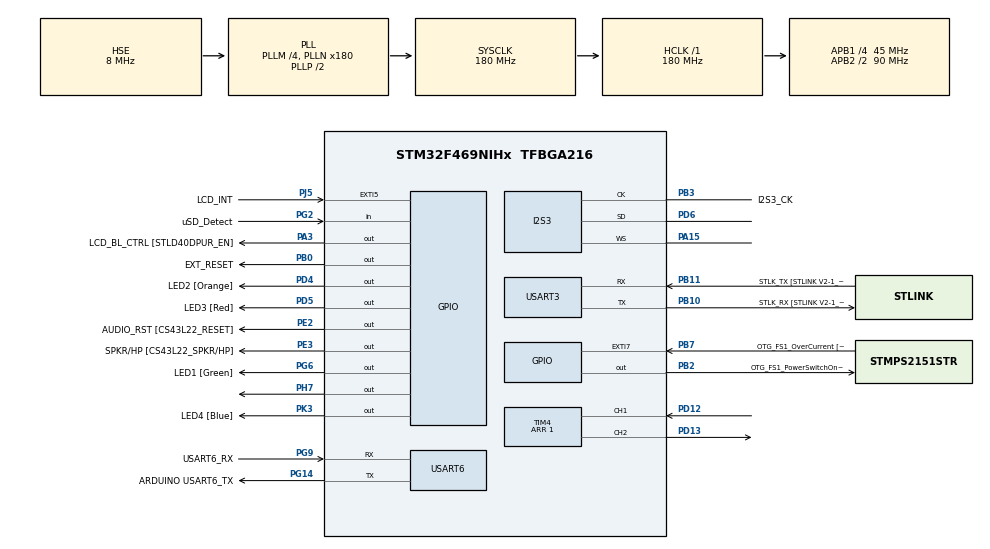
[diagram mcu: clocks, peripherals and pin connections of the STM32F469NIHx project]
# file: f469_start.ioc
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DSIHOST_CKN.GPIO_Label=DSI_CK_N
DSIHOST_CKN.Signal=DSIHOST_CKN
DSIHOST_CKP.GPIO_Label=DSI_CK_P
DSIHOST_CKP.Signal=DSIHOST_CKP
DSIHOST_D0N.GPIO_Label=DSI_D0_N
DSIHOST_D0N.Signal=DSIHOST_D0N
DSIHOST_D0P.GPIO_Label=DSI_D0_P
DSIHOST_D0P.Signal=DSIHOST_D0P
DSIHOST_D1N.GPIO_Label=DSI_D1_N
DSIHOST_D1N.Signal=DSIHOST_D1N
DSIHOST_D1P.GPIO_Label=DSI_D1_P
DSIHOST_D1P.Signal=DSIHOST_D1P
Dma.Request0=SPI3_RX
Dma.SPI3_RX.0.Direction=DMA_PERIPH_TO_MEMORY
Dma.SPI3_RX.0.FIFOMode=DMA_FIFOMODE_DISABLE
Dma.SPI3_RX.0.Instance=DMA1_Stream0
Dma.SPI3_RX.0.MemDataAlignment=DMA_MDATAALIGN_HALFWORD
Dma.SPI3_RX.0.MemInc=DMA_MINC_ENABLE
Dma.SPI3_RX.0.Mode=DMA_CIRCULAR
Dma.SPI3_RX.0.PeriphDataAlignment=DMA_PDATAALIGN_HALFWORD
Dma.SPI3_RX.0.PeriphInc=DMA_PINC_DISABLE
Dma.SPI3_RX.0.Priority=DMA_PRIORITY_HIGH
I2S3.AudioFreq=I2S_AUDIOFREQ_48K
I2S3.DataFormat=I2S_DATAFORMAT_16B_EXTENDED
I2S3.ErrorAudioFreq=-0.79 %
I2S3.FullDuplexMode=I2S_FULLDUPLEXMODE_DISABLE
I2S3.Instance=SPI$Index
I2S3.Mode=I2S_MODE_MASTER_RX
I2S3.RealAudioFreq=47.619 KHz
I2S3.Standard=I2S_STANDARD_MSB
I2S3.VirtualMode=I2S_MODE_MASTER
Mcu.Family=STM32F4
Mcu.Name=STM32F469NIHx
Mcu.Package=TFBGA216
Mcu.UserConstants=PRINT_UART,$$_USART3_IP_HANDLE_$$
NVIC.DMA1_Stream0_IRQn=true\:0\:0\:false\:false\:true\:false\:true\:true
NVIC.PriorityGroup=NVIC_PRIORITYGROUP_4
NVIC.TIM6_DAC_IRQn=true\:15\:0\:false\:false\:true\:false\:true\:true
NVIC.TimeBase=TIM6_DAC_IRQn
NVIC.TimeBaseIP=TIM6
PA0/WKUP.GPIO_Label=WAKEUP [B2]
PA0/WKUP.Mode=SYS_WakeUp0
PA0/WKUP.Signal=SYS_WKUP
PA10.GPIO_Label=USB_FS1_ID
PA10.GPIO_Mode=GPIO_MODE_AF_PP
PA10.GPIO_PuPd=GPIO_NOPULL
PA10.GPIO_Speed=GPIO_SPEED_FREQ_VERY_HIGH
PA10.Signal=USB_OTG_FS_ID
PA11.GPIO_Label=USB_FS1_N
PA11.GPIO_Mode=GPIO_MODE_AF_PP
PA11.GPIO_PuPd=GPIO_NOPULL
PA11.GPIO_Speed=GPIO_SPEED_FREQ_VERY_HIGH
PA11.Signal=USB_OTG_FS_DM
PA12.GPIO_Label=USB_FS1_P
PA12.GPIO_Mode=GPIO_MODE_AF_PP
PA12.GPIO_PuPd=GPIO_NOPULL
PA12.GPIO_Speed=GPIO_SPEED_FREQ_VERY_HIGH
PA12.Signal=USB_OTG_FS_DP
PA13.GPIO_Label=SWDIO
PA13.Mode=Serial_Wire
PA13.Signal=SYS_JTMS-SWDIO
PA14.GPIO_Label=SWCLK
PA14.Mode=Serial_Wire
PA14.Signal=SYS_JTCK-SWCLK
PA15.Mode=Half_Duplex_Master
PA15.Signal=I2S3_WS
PA3.GPIO_Label=LCD_BL_CTRL [STLD40DPUR_EN]
PA3.GPIO_ModeDefaultOutputPP=GPIO_MODE_OUTPUT_PP
PA3.GPIO_PuPd=GPIO_NOPULL
PA3.GPIO_Speed=GPIO_SPEED_FREQ_LOW
PA3.Signal=GPIO_Output
PA9.GPIO_Label=VBUS_FS1
PA9.GPIO_Mode=GPIO_MODE_AF_PP
PA9.GPIO_PuPd=GPIO_NOPULL
PA9.GPIO_Speed=GPIO_SPEED_FREQ_VERY_HIGH
PA9.Signal=USB_OTG_FS_VBUS
PB0.GPIO_Label=EXT_RESET
PB0.GPIO_ModeDefaultOutputPP=GPIO_MODE_OUTPUT_PP
PB0.GPIO_PuPd=GPIO_NOPULL
PB0.GPIO_Speed=GPIO_SPEED_FREQ_LOW
PB0.Signal=GPIO_Output
PB10.GPIO_Label=STLK_RX [STLINK V2-1_U2_RX]
PB10.GPIO_Mode=GPIO_MODE_AF_PP
PB10.GPIO_PuPd=GPIO_PULLUP
PB10.GPIO_Speed=GPIO_SPEED_FREQ_VERY_HIGH
PB10.Mode=Asynchronous
PB10.Signal=USART3_TX
PB11.GPIO_Label=STLK_TX [STLINK V2-1_U2_TX]
PB11.GPIO_Mode=GPIO_MODE_AF_PP
PB11.GPIO_PuPd=GPIO_PULLUP
PB11.GPIO_Speed=GPIO_SPEED_FREQ_VERY_HIGH
PB11.Mode=Asynchronous
PB11.Signal=USART3_RX
PB2/BOOT1.GPIO_Label=OTG_FS1_PowerSwitchOn [STMPS2151STR_En]
PB2/BOOT1.GPIO_ModeDefaultOutputPP=GPIO_MODE_OUTPUT_PP
PB2/BOOT1.GPIO_PuPd=GPIO_NOPULL
PB2/BOOT1.GPIO_Speed=GPIO_SPEED_FREQ_LOW
PB2/BOOT1.Signal=GPIO_Output
PB3.GPIO_Label=I2S3_CK
PB3.GPIO_Mode=GPIO_MODE_AF_PP
PB3.GPIO_PuPd=GPIO_NOPULL
PB3.GPIO_Speed=GPIO_SPEED_FREQ_LOW
PB3.Mode=Half_Duplex_Master
PB3.Signal=I2S3_CK
PB6.GPIO_Label=QSPI_BK1_NCS [N25Q128A13EF840F_S]
PB6.GPIO_Mode=GPIO_MODE_AF_PP
PB6.GPIO_PuPd=GPIO_NOPULL
PB6.GPIO_Speed=GPIO_SPEED_FREQ_VERY_HIGH
PB6.Signal=QUADSPI_BK1_NCS
PB7.GPIO_Label=OTG_FS1_OverCurrent [STMPS2151STR_FAULT]
PB7.GPIO_ModeDefaultEXTI=GPIO_MODE_IT_RISING
PB7.GPIO_PuPd=GPIO_NOPULL
PB7.Signal=GPXTI7
PB8.GPIO_Label=I2C1_SCL
PB8.GPIO_Mode=GPIO_MODE_AF_OD
PB8.GPIO_Pu=GPIO_PULLUP
PB8.GPIO_Speed=GPIO_SPEED_FREQ_VERY_HIGH
PB8.Signal=I2C1_SCL
PB9.GPIO_Label=I2C1_SDA
PB9.GPIO_Mode=GPIO_MODE_AF_OD
PB9.GPIO_Pu=GPIO_PULLUP
PB9.GPIO_Speed=GPIO_SPEED_FREQ_VERY_HIGH
PB9.Signal=I2C1_SDA
PC0.GPIO_Label=SDNWE [MT48LC4M32B2B5-6A_WE]
PC0.GPIO_Mode=GPIO_MODE_AF_PP
PC0.GPIO_PuPd=GPIO_NOPULL
PC0.GPIO_Speed_High_Default=GPIO_SPEED_FREQ_VERY_HIGH
PC0.Signal=FMC_SDNWE
PC10.GPIO_Label=uSD_D2
PC10.GPIO_Mode=GPIO_MODE_AF_PP
PC10.GPIO_PuPd=GPIO_NOPULL
PC10.GPIO_Speed_High_Default=GPIO_SPEED_FREQ_VERY_HIGH
PC10.Signal=SDIO_D2
PC11.GPIO_Label=uSD_D3
PC11.GPIO_Mode=GPIO_MODE_AF_PP
PC11.GPIO_PuPd=GPIO_NOPULL
PC11.GPIO_Speed_High_Default=GPIO_SPEED_FREQ_VERY_HIGH
PC11.Signal=SDIO_D3
PC12.GPIO_Label=uSD_CLK
PC12.GPIO_Mode=GPIO_MODE_AF_PP
PC12.GPIO_PuPd=GPIO_NOPULL
PC12.GPIO_Speed_High_Default=GPIO_SPEED_FREQ_VERY_HIGH
PC12.Signal=SDIO_CK
PC14/OSC32_IN.Mode=LSE-External-Oscillator
PC14/OSC32_IN.Signal=RCC_OSC32_IN
PC15/OSC32_OUT.Mode=LSE-External-Oscillator
PC15/OSC32_OUT.Signal=RCC_OSC32_OUT
PC8.GPIO_Label=uSD_D0
PC8.GPIO_Mode=GPIO_MODE_AF_PP
PC8.GPIO_PuPd=GPIO_NOPULL
PC8.GPIO_Speed_High_Default=GPIO_SPEED_FREQ_VERY_HIGH
PC8.Signal=SDIO_D0
PC9.GPIO_Label=uSD_D1
PC9.GPIO_Mode=GPIO_MODE_AF_PP
PC9.GPIO_PuPd=GPIO_NOPULL
PC9.GPIO_Speed_High_Default=GPIO_SPEED_FREQ_VERY_HIGH
PC9.Signal=SDIO_D1
PD0.GPIO_Label=D2
PD0.GPIO_Mode=GPIO_MODE_AF_PP
PD0.GPIO_PuPd=GPIO_NOPULL
PD0.GPIO_Speed_High_Default=GPIO_SPEED_FREQ_VERY_HIGH
PD0.Signal=FMC_D2_DA2
PD1.GPIO_Label=D3
PD1.GPIO_Mode=GPIO_MODE_AF_PP
PD1.GPIO_PuPd=GPIO_NOPULL
PD1.GPIO_Speed_High_Default=GPIO_SPEED_FREQ_VERY_HIGH
PD1.Signal=FMC_D3_DA3
PD10.GPIO_Label=D15
PD10.GPIO_Mode=GPIO_MODE_AF_PP
PD10.GPIO_PuPd=GPIO_NOPULL
PD10.GPIO_Speed_High_Default=GPIO_SPEED_FREQ_VERY_HIGH
PD10.Signal=FMC_D15_DA15
PD12.Signal=S_TIM4_CH1
PD13.Signal=S_TIM4_CH2
PD14.GPIO_Label=D0
PD14.GPIO_Mode=GPIO_MODE_AF_PP
PD14.GPIO_PuPd=GPIO_NOPULL
PD14.GPIO_Speed_High_Default=GPIO_SPEED_FREQ_VERY_HIGH
PD14.Signal=FMC_D0_DA0
PD15.GPIO_Label=D1
PD15.GPIO_Mode=GPIO_MODE_AF_PP
PD15.GPIO_PuPd=GPIO_NOPULL
PD15.GPIO_Speed_High_Default=GPIO_SPEED_FREQ_VERY_HIGH
PD15.Signal=FMC_D1_DA1
PD2.GPIO_Label=uSD_CMD
PD2.GPIO_Mode=GPIO_MODE_AF_PP
PD2.GPIO_PuPd=GPIO_NOPULL
PD2.GPIO_Speed_High_Default=GPIO_SPEED_FREQ_VERY_HIGH
PD2.Signal=SDIO_CMD
PD4.GPIO_Label=LED2 [Orange]
PD4.GPIO_ModeDefaultOutputPP=GPIO_MODE_OUTPUT_OD
PD4.GPIO_PuPd=GPIO_NOPULL
PD4.GPIO_Speed=GPIO_SPEED_FREQ_LOW
PD4.Signal=GPIO_Output
PD5.GPIO_Label=LED3 [Red]
PD5.GPIO_ModeDefaultOutputPP=GPIO_MODE_OUTPUT_OD
PD5.GPIO_PuPd=GPIO_NOPULL
PD5.GPIO_Speed=GPIO_SPEED_FREQ_LOW
PD5.Signal=GPIO_Output
PD6.Mode=Half_Duplex_Master
PD6.Signal=I2S3_SD
PD8.GPIO_Label=D13
PD8.GPIO_Mode=GPIO_MODE_AF_PP
PD8.GPIO_PuPd=GPIO_NOPULL
PD8.GPIO_Speed_High_Default=GPIO_SPEED_FREQ_VERY_HIGH
PD8.Signal=FMC_D13_DA13
PD9.GPIO_Label=D14
PD9.GPIO_Mode=GPIO_MODE_AF_PP
PD9.GPIO_PuPd=GPIO_NOPULL
PD9.GPIO_Speed_High_Default=GPIO_SPEED_FREQ_VERY_HIGH
PD9.Signal=FMC_D14_DA14
PDM2PCM.NbCHANNEL=2
PE0.GPIO_Label=FMC_NBL0 [ MT48LC4M32B2B5-6A_DQM0]
PE0.GPIO_Mode=GPIO_MODE_AF_PP
PE0.GPIO_PuPd=GPIO_NOPULL
PE0.GPIO_Speed_High_Default=GPIO_SPEED_FREQ_VERY_HIGH
PE0.Signal=FMC_NBL0
PE1.GPIO_Label=FMC_NBL1 [ MT48LC4M32B2B5-6A_DQM1]
PE1.GPIO_Mode=GPIO_MODE_AF_PP
PE1.GPIO_PuPd=GPIO_NOPULL
PE1.GPIO_Speed_High_Default=GPIO_SPEED_FREQ_VERY_HIGH
PE1.Signal=FMC_NBL1
PE10.GPIO_Label=D7
PE10.GPIO_Mode=GPIO_MODE_AF_PP
PE10.GPIO_PuPd=GPIO_NOPULL
PE10.GPIO_Speed_High_Default=GPIO_SPEED_FREQ_VERY_HIGH
PE10.Signal=FMC_D7_DA7
PE11.GPIO_Label=D8
PE11.GPIO_Mode=GPIO_MODE_AF_PP
PE11.GPIO_PuPd=GPIO_NOPULL
PE11.GPIO_Speed_High_Default=GPIO_SPEED_FREQ_VERY_HIGH
PE11.Signal=FMC_D8_DA8
PE12.GPIO_Label=D9
PE12.GPIO_Mode=GPIO_MODE_AF_PP
PE12.GPIO_PuPd=GPIO_NOPULL
PE12.GPIO_Speed_High_Default=GPIO_SPEED_FREQ_VERY_HIGH
PE12.Signal=FMC_D9_DA9
PE13.GPIO_Label=D10
PE13.GPIO_Mode=GPIO_MODE_AF_PP
PE13.GPIO_PuPd=GPIO_NOPULL
PE13.GPIO_Speed_High_Default=GPIO_SPEED_FREQ_VERY_HIGH
PE13.Signal=FMC_D10_DA10
PE14.GPIO_Label=D11
PE14.GPIO_Mode=GPIO_MODE_AF_PP
PE14.GPIO_PuPd=GPIO_NOPULL
PE14.GPIO_Speed_High_Default=GPIO_SPEED_FREQ_VERY_HIGH
PE14.Signal=FMC_D11_DA11
PE15.GPIO_Label=D12
PE15.GPIO_Mode=GPIO_MODE_AF_PP
PE15.GPIO_PuPd=GPIO_NOPULL
PE15.GPIO_Speed_High_Default=GPIO_SPEED_FREQ_VERY_HIGH
PE15.Signal=FMC_D12_DA12
PE2.GPIO_Label=AUDIO_RST [CS43L22_RESET]
PE2.GPIO_ModeDefaultOutputPP=GPIO_MODE_OUTPUT_PP
PE2.GPIO_PuPd=GPIO_NOPULL
PE2.GPIO_Speed=GPIO_SPEED_FREQ_LOW
PE2.Signal=GPIO_Output
PE3.GPIO_Label=SPKR/HP [CS43L22_SPKR/HP]
PE3.GPIO_ModeDefaultOutputPP=GPIO_MODE_OUTPUT_PP
PE3.GPIO_PuPd=GPIO_NOPULL
PE3.GPIO_Speed=GPIO_SPEED_FREQ_LOW
PE3.Signal=GPIO_Output
PE4.GPIO_Label=SAI1_FSA [CS43L22_LRCK]
PE4.GPIO_Mode=GPIO_MODE_AF_PP
PE4.GPIO_PuPd=GPIO_NOPULL
PE4.GPIO_Speed=GPIO_SPEED_FREQ_LOW
PE4.Signal=SAI1_FS_A
PE5.GPIO_Label=SAI1_SCKA [CS43L22_CLK]
PE5.GPIO_Mode=GPIO_MODE_AF_PP
PE5.GPIO_PuPd=GPIO_NOPULL
PE5.GPIO_Speed=GPIO_SPEED_FREQ_LOW
PE5.Signal=SAI1_SCK_A
PE7.GPIO_Label=D4
PE7.GPIO_Mode=GPIO_MODE_AF_PP
PE7.GPIO_PuPd=GPIO_NOPULL
PE7.GPIO_Speed_High_Default=GPIO_SPEED_FREQ_VERY_HIGH
PE7.Signal=FMC_D4_DA4
PE8.GPIO_Label=D5
PE8.GPIO_Mode=GPIO_MODE_AF_PP
PE8.GPIO_PuPd=GPIO_NOPULL
PE8.GPIO_Speed_High_Default=GPIO_SPEED_FREQ_VERY_HIGH
PE8.Signal=FMC_D5_DA5
PE9.GPIO_Label=D6
PE9.GPIO_Mode=GPIO_MODE_AF_PP
PE9.GPIO_PuPd=GPIO_NOPULL
PE9.GPIO_Speed_High_Default=GPIO_SPEED_FREQ_VERY_HIGH
PE9.Signal=FMC_D6_DA6
PF0.GPIO_Label=A0
PF0.GPIO_Mode=GPIO_MODE_AF_PP
PF0.GPIO_PuPd=GPIO_NOPULL
PF0.GPIO_Speed_High_Default=GPIO_SPEED_FREQ_VERY_HIGH
PF0.Signal=FMC_A0
PF1.GPIO_Label=A1
PF1.GPIO_Mode=GPIO_MODE_AF_PP
PF1.GPIO_PuPd=GPIO_NOPULL
PF1.GPIO_Speed_High_Default=GPIO_SPEED_FREQ_VERY_HIGH
PF1.Signal=FMC_A1
PF10.GPIO_Label=QSPI_CLK [N25Q128A13EF840F_C]
PF10.GPIO_Mode=GPIO_MODE_AF_PP
PF10.GPIO_PuPd=GPIO_NOPULL
PF10.GPIO_Speed=GPIO_SPEED_FREQ_VERY_HIGH
PF10.Signal=QUADSPI_CLK
PF11.GPIO_Label=SDNMT48LC4M32B2B5-6A_RAS]RAS [
PF11.GPIO_Mode=GPIO_MODE_AF_PP
PF11.GPIO_PuPd=GPIO_NOPULL
PF11.GPIO_Speed_High_Default=GPIO_SPEED_FREQ_VERY_HIGH
PF11.Signal=FMC_SDNRAS
PF12.GPIO_Label=A6
PF12.GPIO_Mode=GPIO_MODE_AF_PP
PF12.GPIO_PuPd=GPIO_NOPULL
PF12.GPIO_Speed_High_Default=GPIO_SPEED_FREQ_VERY_HIGH
PF12.Signal=FMC_A6
PF13.GPIO_Label=A7
PF13.GPIO_Mode=GPIO_MODE_AF_PP
PF13.GPIO_PuPd=GPIO_NOPULL
PF13.GPIO_Speed_High_Default=GPIO_SPEED_FREQ_VERY_HIGH
PF13.Signal=FMC_A7
PF14.GPIO_Label=A8
PF14.GPIO_Mode=GPIO_MODE_AF_PP
PF14.GPIO_PuPd=GPIO_NOPULL
PF14.GPIO_Speed_High_Default=GPIO_SPEED_FREQ_VERY_HIGH
PF14.Signal=FMC_A8
PF15.GPIO_Label=A9
PF15.GPIO_Mode=GPIO_MODE_AF_PP
PF15.GPIO_PuPd=GPIO_NOPULL
PF15.GPIO_Speed_High_Default=GPIO_SPEED_FREQ_VERY_HIGH
PF15.Signal=FMC_A9
PF2.GPIO_Label=A2
PF2.GPIO_Mode=GPIO_MODE_AF_PP
PF2.GPIO_PuPd=GPIO_NOPULL
PF2.GPIO_Speed_High_Default=GPIO_SPEED_FREQ_VERY_HIGH
PF2.Signal=FMC_A2
PF3.GPIO_Label=A3
PF3.GPIO_Mode=GPIO_MODE_AF_PP
PF3.GPIO_PuPd=GPIO_NOPULL
PF3.GPIO_Speed_High_Default=GPIO_SPEED_FREQ_VERY_HIGH
PF3.Signal=FMC_A3
PF4.GPIO_Label=A4
PF4.GPIO_Mode=GPIO_MODE_AF_PP
PF4.GPIO_PuPd=GPIO_NOPULL
PF4.GPIO_Speed_High_Default=GPIO_SPEED_FREQ_VERY_HIGH
PF4.Signal=FMC_A4
PF5.GPIO_Label=A5
PF5.GPIO_Mode=GPIO_MODE_AF_PP
PF5.GPIO_PuPd=GPIO_NOPULL
PF5.GPIO_Speed_High_Default=GPIO_SPEED_FREQ_VERY_HIGH
PF5.Signal=FMC_A5
PF6.GPIO_Label=QSPI_BK1_IO3 [N25Q128A13EF840F_DQ3]
PF6.GPIO_Mode=GPIO_MODE_AF_PP
PF6.GPIO_PuPd=GPIO_NOPULL
PF6.GPIO_Speed=GPIO_SPEED_FREQ_VERY_HIGH
PF6.Signal=QUADSPI_BK1_IO3
PF7.GPIO_Label=QSPI_BK1_IO2 [N25Q128A13EF840F_DQ2]
PF7.GPIO_Mode=GPIO_MODE_AF_PP
PF7.GPIO_PuPd=GPIO_NOPULL
PF7.GPIO_Speed=GPIO_SPEED_FREQ_VERY_HIGH
PF7.Signal=QUADSPI_BK1_IO2
PF8.GPIO_Label=QSPI_BK1_IO0 [N25Q128A13EF840F_DQ0]
PF8.GPIO_Mode=GPIO_MODE_AF_PP
PF8.GPIO_PuPd=GPIO_NOPULL
PF8.GPIO_Speed=GPIO_SPEED_FREQ_VERY_HIGH
PF8.Signal=QUADSPI_BK1_IO0
PF9.GPIO_Label=QSPI_BK1_IO1 [N25Q128A13EF840F_DQ1]
PF9.GPIO_Mode=GPIO_MODE_AF_PP
PF9.GPIO_PuPd=GPIO_NOPULL
PF9.GPIO_Speed=GPIO_SPEED_FREQ_VERY_HIGH
PF9.Signal=QUADSPI_BK1_IO1
PG0.GPIO_Label=A10
PG0.GPIO_Mode=GPIO_MODE_AF_PP
PG0.GPIO_PuPd=GPIO_NOPULL
PG0.GPIO_Speed_High_Default=GPIO_SPEED_FREQ_VERY_HIGH
PG0.Signal=FMC_A10
PG1.GPIO_Label=A11
PG1.GPIO_Mode=GPIO_MODE_AF_PP
PG1.GPIO_PuPd=GPIO_NOPULL
PG1.GPIO_Speed_High_Default=GPIO_SPEED_FREQ_VERY_HIGH
PG1.Signal=FMC_A11
PG14.GPIO_Label=ARDUINO USART6_TX
PG14.GPIO_Mode=GPIO_MODE_AF_PP
PG14.GPIO_PuPd=GPIO_NOPULL
PG14.GPIO_Speed=GPIO_SPEED_FREQ_VERY_HIGH
PG14.Mode=Asynchronous
PG14.Signal=USART6_TX
PG15.GPIO_Label=SDNCAS [MT48LC4M32B2B5-6A_CAS]
PG15.GPIO_Mode=GPIO_MODE_AF_PP
PG15.GPIO_PuPd=GPIO_NOPULL
PG15.GPIO_Speed_High_Default=GPIO_SPEED_FREQ_VERY_HIGH
PG15.Signal=FMC_SDNCAS
PG2.GPIO_Label=uSD_Detect
PG2.GPIO_Mode=GPIO_MODE_INPUT
PG2.GPIO_PuPd=GPIO_NOPULL
PG2.Signal=GPIO_Input
PG4.Signal=FMC_A14_BA0
PG5.Signal=FMC_A15_BA1
PG6.GPIO_Label=LED1 [Green]
PG6.GPIO_ModeDefaultOutputPP=GPIO_MODE_OUTPUT_OD
PG6.GPIO_PuPd=GPIO_NOPULL
PG6.GPIO_Speed=GPIO_SPEED_FREQ_LOW
PG6.Signal=GPIO_Output
PG7.GPIO_Label=SAI1_MCLKA [CS43L22_MCLK]
PG7.GPIO_Mode=GPIO_MODE_AF_PP
PG7.GPIO_PuPd=GPIO_NOPULL
PG7.GPIO_Speed=GPIO_SPEED_FREQ_LOW
PG7.Signal=SAI1_MCLK_A
PG8.GPIO_Label=SDCLK [MT48LC4M32B2B5-6A_CLK]
PG8.GPIO_Mode=GPIO_MODE_AF_PP
PG8.GPIO_PuPd=GPIO_NOPULL
PG8.GPIO_Speed_High_Default=GPIO_SPEED_FREQ_VERY_HIGH
PG8.Signal=FMC_SDCLK
PG9.GPIO_Label=USART6_RX
PG9.GPIO_Mode=GPIO_MODE_AF_PP
PG9.GPIO_PuPd=GPIO_NOPULL
PG9.GPIO_Speed=GPIO_SPEED_FREQ_VERY_HIGH
PG9.Mode=Asynchronous
PG9.Signal=USART6_RX
PH0/OSC_IN.Mode=HSE-External-Oscillator
PH0/OSC_IN.Signal=RCC_OSC_IN
PH1/OSC_OUT.Mode=HSE-External-Oscillator
PH1/OSC_OUT.Signal=RCC_OSC_OUT
PH10.GPIO_Label=D18
PH10.GPIO_Mode=GPIO_MODE_AF_PP
PH10.GPIO_PuPd=GPIO_NOPULL
PH10.GPIO_Speed_High_Default=GPIO_SPEED_FREQ_VERY_HIGH
PH10.Signal=FMC_D18
PH11.GPIO_Label=D19
PH11.GPIO_Mode=GPIO_MODE_AF_PP
PH11.GPIO_PuPd=GPIO_NOPULL
PH11.GPIO_Speed_High_Default=GPIO_SPEED_FREQ_VERY_HIGH
PH11.Signal=FMC_D19
PH12.GPIO_Label=D20
PH12.GPIO_Mode=GPIO_MODE_AF_PP
PH12.GPIO_PuPd=GPIO_NOPULL
PH12.GPIO_Speed_High_Default=GPIO_SPEED_FREQ_VERY_HIGH
PH12.Signal=FMC_D20
PH13.GPIO_Label=D21
PH13.GPIO_Mode=GPIO_MODE_AF_PP
PH13.GPIO_PuPd=GPIO_NOPULL
PH13.GPIO_Speed_High_Default=GPIO_SPEED_FREQ_VERY_HIGH
PH13.Signal=FMC_D21
PH14.GPIO_Label=D22
PH14.GPIO_Mode=GPIO_MODE_AF_PP
PH14.GPIO_PuPd=GPIO_NOPULL
PH14.GPIO_Speed_High_Default=GPIO_SPEED_FREQ_VERY_HIGH
PH14.Signal=FMC_D22
PH15.GPIO_Label=D23
PH15.GPIO_Mode=GPIO_MODE_AF_PP
PH15.GPIO_PuPd=GPIO_NOPULL
PH15.GPIO_Speed_High_Default=GPIO_SPEED_FREQ_VERY_HIGH
PH15.Signal=FMC_D23
PH2.GPIO_Label=SDCKE0 [MT48LC4M32B2B5-6A_CKE]
PH2.GPIO_Mode=GPIO_MODE_AF_PP
PH2.GPIO_PuPd=GPIO_NOPULL
PH2.GPIO_Speed_High_Default=GPIO_SPEED_FREQ_VERY_HIGH
PH2.Signal=FMC_SDCKE0
PH3.GPIO_Label=SDNE0 [MT48LC4M32B2B5-6A_CS]
PH3.GPIO_Mode=GPIO_MODE_AF_PP
PH3.GPIO_PuPd=GPIO_NOPULL
PH3.GPIO_Speed_High_Default=GPIO_SPEED_FREQ_VERY_HIGH
PH3.Signal=FMC_SDNE0
PH4.GPIO_Label=I2C2_SCL [CS43L22_SCL]
PH4.GPIO_Mode=GPIO_MODE_AF_OD
PH4.GPIO_Pu=GPIO_PULLUP
PH4.GPIO_Speed=GPIO_SPEED_FREQ_VERY_HIGH
PH4.Signal=I2C2_SCL
PH5.GPIO_Label=I2C2_SDA [CS43L22_SDA]
PH5.GPIO_Mode=GPIO_MODE_AF_OD
PH5.GPIO_Pu=GPIO_PULLUP
PH5.GPIO_Speed=GPIO_SPEED_FREQ_VERY_HIGH
PH5.Signal=I2C2_SDA
PH7.Signal=GPIO_Output
PH8.GPIO_Label=D16
PH8.GPIO_Mode=GPIO_MODE_AF_PP
PH8.GPIO_PuPd=GPIO_NOPULL
PH8.GPIO_Speed_High_Default=GPIO_SPEED_FREQ_VERY_HIGH
PH8.Signal=FMC_D16
PH9.GPIO_Label=D17
PH9.GPIO_Mode=GPIO_MODE_AF_PP
PH9.GPIO_PuPd=GPIO_NOPULL
PH9.GPIO_Speed_High_Default=GPIO_SPEED_FREQ_VERY_HIGH
PH9.Signal=FMC_D17
PI0.GPIO_Label=D24
PI0.GPIO_Mode=GPIO_MODE_AF_PP
PI0.GPIO_PuPd=GPIO_NOPULL
PI0.GPIO_Speed_High_Default=GPIO_SPEED_FREQ_VERY_HIGH
PI0.Signal=FMC_D24
PI1.GPIO_Label=D25
PI1.GPIO_Mode=GPIO_MODE_AF_PP
PI1.GPIO_PuPd=GPIO_NOPULL
PI1.GPIO_Speed_High_Default=GPIO_SPEED_FREQ_VERY_HIGH
PI1.Signal=FMC_D25
PI10.GPIO_Label=D31
PI10.GPIO_Mode=GPIO_MODE_AF_PP
PI10.GPIO_PuPd=GPIO_NOPULL
PI10.GPIO_Speed_High_Default=GPIO_SPEED_FREQ_VERY_HIGH
PI10.Signal=FMC_D31
PI2.GPIO_Label=D26
PI2.GPIO_Mode=GPIO_MODE_AF_PP
PI2.GPIO_PuPd=GPIO_NOPULL
PI2.GPIO_Speed_High_Default=GPIO_SPEED_FREQ_VERY_HIGH
PI2.Signal=FMC_D26
PI3.GPIO_Label=D27
PI3.GPIO_Mode=GPIO_MODE_AF_PP
PI3.GPIO_PuPd=GPIO_NOPULL
PI3.GPIO_Speed_High_Default=GPIO_SPEED_FREQ_VERY_HIGH
PI3.Signal=FMC_D27
PI4.GPIO_Label=FMC_NBL2 [MT48LC4M32B2B5-6A_DQM2]
PI4.GPIO_Mode=GPIO_MODE_AF_PP
PI4.GPIO_PuPd=GPIO_NOPULL
PI4.GPIO_Speed_High_Default=GPIO_SPEED_FREQ_VERY_HIGH
PI4.Signal=FMC_NBL2
PI5.GPIO_Label=FMC_NBL3 [MT48LC4M32B2B5-6A_DQM3]
PI5.GPIO_Mode=GPIO_MODE_AF_PP
PI5.GPIO_PuPd=GPIO_NOPULL
PI5.GPIO_Speed_High_Default=GPIO_SPEED_FREQ_VERY_HIGH
PI5.Signal=FMC_NBL3
PI6.GPIO_Label=D28
PI6.GPIO_Mode=GPIO_MODE_AF_PP
PI6.GPIO_PuPd=GPIO_NOPULL
PI6.GPIO_Speed_High_Default=GPIO_SPEED_FREQ_VERY_HIGH
PI6.Signal=FMC_D28
PI7.GPIO_Label=D29
PI7.GPIO_Mode=GPIO_MODE_AF_PP
PI7.GPIO_PuPd=GPIO_NOPULL
PI7.GPIO_Speed_High_Default=GPIO_SPEED_FREQ_VERY_HIGH
PI7.Signal=FMC_D29
PI9.GPIO_Label=D30
PI9.GPIO_Mode=GPIO_MODE_AF_PP
PI9.GPIO_PuPd=GPIO_NOPULL
PI9.GPIO_Speed_High_Default=GPIO_SPEED_FREQ_VERY_HIGH
PI9.Signal=FMC_D30
PJ2.GPIO_Label=DSI_TE
PJ2.GPIO_Mode=GPIO_MODE_AF_PP
PJ2.GPIO_PuPd=GPIO_NOPULL
PJ2.GPIO_Speed=GPIO_SPEED_FREQ_VERY_HIGH
PJ2.Signal=DSIHOST_TE
PJ5.GPIO_Label=LCD_INT
PJ5.GPIO_ModeDefaultEXTI=GPIO_MODE_IT_RISING
PJ5.GPIO_PuPd=GPIO_NOPULL
PJ5.Signal=GPXTI5
PK3.GPIO_Label=LED4 [Blue]
PK3.GPIO_ModeDefaultOutputPP=GPIO_MODE_OUTPUT_OD
PK3.GPIO_PuPd=GPIO_NOPULL
PK3.GPIO_Speed=GPIO_SPEED_FREQ_LOW
PK3.Signal=GPIO_Output
ProjectManager.HeapSize=0x200
ProjectManager.StackSize=0x400
ProjectManager.TargetToolchain=STM32CubeIDE
RCC.AHBFreq_Value=180000000
RCC.APB1CLKDivider=RCC_HCLK_DIV4
RCC.APB1Freq_Value=45000000
RCC.APB1TimFreq_Value=90000000
RCC.APB2CLKDivider=RCC_HCLK_DIV2
RCC.APB2Freq_Value=90000000
RCC.APB2TimFreq_Value=180000000
RCC.CortexFreq_Value=180000000
RCC.HCLKFreq_Value=180000000
RCC.HSE_VALUE=8000000
RCC.PLLDSIIDF=DSI_PLL_IN_DIV2
RCC.PLLDSINDIV=125
RCC.PLLM=4
RCC.PLLN=180
RCC.PLLQ=6
RCC.PLLR=6
RCC.PLLSAIN=144
RCC.PLLSAIP=RCC_PLLSAIP_DIV6
RCC.PLLSAIQ=2
RCC.PLLSAIRDiv=RCC_PLLSAIDIVR_4
RCC.PLLSourceVirtual=RCC_PLLSOURCE_HSE
RCC.SYSCLKFreq_VALUE=180000000
RCC.SYSCLKSource=RCC_SYSCLKSOURCE_PLLCLK
RCC.USBCLockSelection=RCC_CLK48CLKSOURCE_PLLSAIP
RCC.USBFreq_Value=48000000
RCC.VCOOutputFreq_Value=360000000
SH.FMC_A0.0=FMC_A0
SH.FMC_A1.0=FMC_A1
SH.FMC_A10.0=FMC_A10
SH.FMC_A11.0=FMC_A11
SH.FMC_A14_BA0.0=FMC_BA0
SH.FMC_A15_BA1.0=FMC_BA1
SH.FMC_A2.0=FMC_A2
SH.FMC_A3.0=FMC_A3
SH.FMC_A4.0=FMC_A4
SH.FMC_A5.0=FMC_A5
SH.FMC_A6.0=FMC_A6
SH.FMC_A7.0=FMC_A7
SH.FMC_A8.0=FMC_A8
SH.FMC_A9.0=FMC_A9
SH.FMC_D0_DA0.0=FMC_D0
SH.FMC_D10_DA10.0=FMC_D10
SH.FMC_D11_DA11.0=FMC_D11
SH.FMC_D12_DA12.0=FMC_D12
SH.FMC_D13_DA13.0=FMC_D13
SH.FMC_D14_DA14.0=FMC_D14
SH.FMC_D15_DA15.0=FMC_D15
SH.FMC_D16.0=FMC_D16
SH.FMC_D17.0=FMC_D17
SH.FMC_D18.0=FMC_D18
SH.FMC_D19.0=FMC_D19
SH.FMC_D1_DA1.0=FMC_D1
SH.FMC_D20.0=FMC_D20
SH.FMC_D21.0=FMC_D21
SH.FMC_D22.0=FMC_D22
SH.FMC_D23.0=FMC_D23
SH.FMC_D24.0=FMC_D24
SH.FMC_D25.0=FMC_D25
SH.FMC_D26.0=FMC_D26
SH.FMC_D27.0=FMC_D27
SH.FMC_D28.0=FMC_D28
SH.FMC_D29.0=FMC_D29
SH.FMC_D2_DA2.0=FMC_D2
SH.FMC_D30.0=FMC_D30
SH.FMC_D31.0=FMC_D31
SH.FMC_D3_DA3.0=FMC_D3
SH.FMC_D4_DA4.0=FMC_D4
SH.FMC_D5_DA5.0=FMC_D5
SH.FMC_D6_DA6.0=FMC_D6
SH.FMC_D7_DA7.0=FMC_D7
SH.FMC_D8_DA8.0=FMC_D8
SH.FMC_D9_DA9.0=FMC_D9
SH.FMC_NBL0.0=FMC_NBL0
SH.FMC_NBL1.0=FMC_NBL1
SH.FMC_NBL2.0=FMC_NBL2
SH.FMC_NBL3.0=FMC_NBL3
SH.FMC_SDCLK.0=FMC_SDCLK
SH.FMC_SDNCAS.0=FMC_SDNCAS
SH.FMC_SDNRAS.0=FMC_SDNRAS
SH.FMC_SDNWE.0=FMC_SDNWE
SH.S_TIM4_CH1.0=TIM4_CH1,TriggerSource_TI1FP1
SH.S_TIM4_CH2.0=TIM4_CH2,PWM Generation2 CH2
TIM4.Channel-PWM\ Generation2\ CH2=TIM_CHANNEL_2
TIM4.Period=1
TIM4.Pulse-PWM\ Generation2\ CH2=1
USART3.VirtualMode=VM_ASYNC
USART6.VirtualMode=VM_ASYNC
VP_CRC_VS_CRC.Mode=CRC_Activate
VP_PDM2PCM_VS_PDM2PCM.Mode=PDM2PCM_Channel
VP_SYS_VS_tim6.Mode=TIM6
VP_TIM1_VS_ClockSourceINT.Mode=Internal
VP_TIM4_VS_ControllerModeClock.Mode=Clock Mode
board=STM32F469I-DISCO

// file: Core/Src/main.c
/* USER CODE BEGIN Header */
/**
  ******************************************************************************
  * @file           : main.c
  * @brief          : Main program body
  ******************************************************************************
  * @attention
  *
  * Copyright (c) 2025 STMicroelectronics.
  * All rights reserved.
  *
  * This software is licensed under terms that can be found in the LICENSE file
  * in the root directory of this software component.
  * If no LICENSE file comes with this software, it is provided AS-IS.
  *
  ******************************************************************************
  */
/* USER CODE END Header */
#include "main.h"
#include "pdm2pcm.h"

/* USER CODE BEGIN Includes */
#include <stdio.h>
#include <string.h>
#include <stdbool.h>
#include "pdm2pcm_glo.h"
#include "arm_math.h"
/* USER CODE END Includes */

/* USER CODE BEGIN PD */
#define BUFFER_SIZE 512
#define INT16_TO_FLOAT 1.0f / (32768.0f)
#define FLOAT_TO_INT16 (32768.0f)
#define ARM_MATH_CM4
#define FFT_SIZE  2048
/* USER CODE END PD */

/* USER CODE BEGIN PM */
#ifdef __GNUC__
#define PUTCHAR_PROTOTYPE int __io_putchar(int ch)
#else
#define PUTCHAR_PROTOTYPE int fputc(int ch, FILE *f)
#endif
/* USER CODE END PM */

CRC_HandleTypeDef hcrc;

I2S_HandleTypeDef hi2s3;
DMA_HandleTypeDef hdma_spi3_rx;

TIM_HandleTypeDef htim1;
TIM_HandleTypeDef htim4;

UART_HandleTypeDef huart3;
UART_HandleTypeDef huart6;

/* USER CODE BEGIN PV */
int16_t mic_data[BUFFER_SIZE];
static volatile int16_t * buf_ptr = &mic_data[0];

volatile bool data_ready_flag = false;

arm_rfft_fast_instance_f32 fft_handler;
float fft_in[FFT_SIZE];
float fft_out[FFT_SIZE];

volatile bool fft_flag = false;
/* USER CODE END PV */

void SystemClock_Config(void);
static void MX_GPIO_Init(void);
static void MX_DMA_Init(void);
static void MX_CRC_Init(void);
static void MX_TIM1_Init(void);
static void MX_USART3_UART_Init(void);
static void MX_USART6_UART_Init(void);
static void MX_I2S3_Init(void);
static void MX_TIM4_Init(void);
/* USER CODE BEGIN PFP */
PUTCHAR_PROTOTYPE {
	HAL_UART_Transmit(&PRINT_UART, (uint8_t*) &ch, 1, HAL_MAX_DELAY);

	return ch;
}

static void process_data(void);
/* USER CODE END PFP */

int main(void)
{

  /* MCU Configuration--------------------------------------------------------*/

  /* Reset of all peripherals, Initializes the Flash interface and the Systick. */
  HAL_Init();

  /* Configure the system clock */
  SystemClock_Config();

  /* Initialize all configured peripherals */
  MX_GPIO_Init();
  MX_DMA_Init();
  MX_CRC_Init();
  MX_TIM1_Init();
  MX_USART3_UART_Init();
  MX_USART6_UART_Init();
  MX_I2S3_Init();
  MX_TIM4_Init();
  MX_PDM2PCM_Init();
  /* USER CODE BEGIN 2 */

  printf("Hello world \n");
  int i=5;
  printf("i=%d\n",i);
  HAL_Delay(1000);
  HAL_GPIO_WritePin(LED1_GPIO_Port,LED1_Pin,GPIO_PIN_RESET);
  HAL_Delay(1000);
  HAL_GPIO_WritePin(LED1_GPIO_Port,LED1_Pin,GPIO_PIN_SET);
  HAL_Delay(1000);
  HAL_StatusTypeDef ret = HAL_I2S_Receive_DMA(&hi2s3,mic_data,BUFFER_SIZE);
  /* USER CODE END 2 */

  /* Infinite loop */
  while (1)
  {

    /* USER CODE BEGIN 3 */
    if(data_ready_flag){
    	process_data();
    }

  }
  /* USER CODE END 3 */
}

void SystemClock_Config(void)
{
  RCC_OscInitTypeDef RCC_OscInitStruct = {0};
  RCC_ClkInitTypeDef RCC_ClkInitStruct = {0};

  /** Configure the main internal regulator output voltage
  */
  __HAL_RCC_PWR_CLK_ENABLE();
  __HAL_PWR_VOLTAGESCALING_CONFIG(PWR_REGULATOR_VOLTAGE_SCALE1);

  /** Initializes the RCC Oscillators according to the specified parameters
  * in the RCC_OscInitTypeDef structure.
  */
  RCC_OscInitStruct.OscillatorType = RCC_OSCILLATORTYPE_HSE;
  RCC_OscInitStruct.HSEState = RCC_HSE_ON;
  RCC_OscInitStruct.PLL.PLLState = RCC_PLL_ON;
  RCC_OscInitStruct.PLL.PLLSource = RCC_PLLSOURCE_HSE;
  RCC_OscInitStruct.PLL.PLLM = 4;
  RCC_OscInitStruct.PLL.PLLN = 180;
  RCC_OscInitStruct.PLL.PLLP = RCC_PLLP_DIV2;
  RCC_OscInitStruct.PLL.PLLQ = 6;
  RCC_OscInitStruct.PLL.PLLR = 6;
  if (HAL_RCC_OscConfig(&RCC_OscInitStruct) != HAL_OK)
  {
    Error_Handler();
  }

  /** Activate the Over-Drive mode
  */
  if (HAL_PWREx_EnableOverDrive() != HAL_OK)
  {
    Error_Handler();
  }

  /** Initializes the CPU, AHB and APB buses clocks
  */
  RCC_ClkInitStruct.ClockType = RCC_CLOCKTYPE_HCLK|RCC_CLOCKTYPE_SYSCLK
                              |RCC_CLOCKTYPE_PCLK1|RCC_CLOCKTYPE_PCLK2;
  RCC_ClkInitStruct.SYSCLKSource = RCC_SYSCLKSOURCE_PLLCLK;
  RCC_ClkInitStruct.AHBCLKDivider = RCC_SYSCLK_DIV1;
  RCC_ClkInitStruct.APB1CLKDivider = RCC_HCLK_DIV4;
  RCC_ClkInitStruct.APB2CLKDivider = RCC_HCLK_DIV2;

  if (HAL_RCC_ClockConfig(&RCC_ClkInitStruct, FLASH_LATENCY_5) != HAL_OK)
  {
    Error_Handler();
  }
}

static void MX_CRC_Init(void)
{

  hcrc.Instance = CRC;
  if (HAL_CRC_Init(&hcrc) != HAL_OK)
  {
    Error_Handler();
  }
  __HAL_CRC_DR_RESET(&hcrc);

}

static void MX_I2S3_Init(void)
{

  hi2s3.Instance = SPI3;
  hi2s3.Init.Mode = I2S_MODE_MASTER_RX;
  hi2s3.Init.Standard = I2S_STANDARD_MSB;
  hi2s3.Init.DataFormat = I2S_DATAFORMAT_16B_EXTENDED;
  hi2s3.Init.MCLKOutput = I2S_MCLKOUTPUT_DISABLE;
  hi2s3.Init.AudioFreq = I2S_AUDIOFREQ_48K;
  hi2s3.Init.CPOL = I2S_CPOL_LOW;
  hi2s3.Init.ClockSource = I2S_CLOCK_PLL;
  hi2s3.Init.FullDuplexMode = I2S_FULLDUPLEXMODE_DISABLE;
  if (HAL_I2S_Init(&hi2s3) != HAL_OK)
  {
    Error_Handler();
  }

}

static void MX_TIM1_Init(void)
{

  TIM_ClockConfigTypeDef sClockSourceConfig = {0};
  TIM_MasterConfigTypeDef sMasterConfig = {0};

  htim1.Instance = TIM1;
  htim1.Init.Prescaler = 0;
  htim1.Init.CounterMode = TIM_COUNTERMODE_UP;
  htim1.Init.Period = 65535;
  htim1.Init.ClockDivision = TIM_CLOCKDIVISION_DIV1;
  htim1.Init.RepetitionCounter = 0;
  htim1.Init.AutoReloadPreload = TIM_AUTORELOAD_PRELOAD_DISABLE;
  if (HAL_TIM_Base_Init(&htim1) != HAL_OK)
  {
    Error_Handler();
  }
  sClockSourceConfig.ClockSource = TIM_CLOCKSOURCE_INTERNAL;
  if (HAL_TIM_ConfigClockSource(&htim1, &sClockSourceConfig) != HAL_OK)
  {
    Error_Handler();
  }
  sMasterConfig.MasterOutputTrigger = TIM_TRGO_RESET;
  sMasterConfig.MasterSlaveMode = TIM_MASTERSLAVEMODE_DISABLE;
  if (HAL_TIMEx_MasterConfigSynchronization(&htim1, &sMasterConfig) != HAL_OK)
  {
    Error_Handler();
  }

}

static void MX_TIM4_Init(void)
{

  TIM_SlaveConfigTypeDef sSlaveConfig = {0};
  TIM_MasterConfigTypeDef sMasterConfig = {0};
  TIM_OC_InitTypeDef sConfigOC = {0};

  htim4.Instance = TIM4;
  htim4.Init.Prescaler = 0;
  htim4.Init.CounterMode = TIM_COUNTERMODE_UP;
  htim4.Init.Period = 1;
  htim4.Init.ClockDivision = TIM_CLOCKDIVISION_DIV1;
  htim4.Init.AutoReloadPreload = TIM_AUTORELOAD_PRELOAD_DISABLE;
  if (HAL_TIM_Base_Init(&htim4) != HAL_OK)
  {
    Error_Handler();
  }
  if (HAL_TIM_PWM_Init(&htim4) != HAL_OK)
  {
    Error_Handler();
  }
  sSlaveConfig.SlaveMode = TIM_SLAVEMODE_EXTERNAL1;
  sSlaveConfig.InputTrigger = TIM_TS_TI1FP1;
  sSlaveConfig.TriggerPolarity = TIM_TRIGGERPOLARITY_RISING;
  sSlaveConfig.TriggerFilter = 0;
  if (HAL_TIM_SlaveConfigSynchro(&htim4, &sSlaveConfig) != HAL_OK)
  {
    Error_Handler();
  }
  sMasterConfig.MasterOutputTrigger = TIM_TRGO_RESET;
  sMasterConfig.MasterSlaveMode = TIM_MASTERSLAVEMODE_DISABLE;
  if (HAL_TIMEx_MasterConfigSynchronization(&htim4, &sMasterConfig) != HAL_OK)
  {
    Error_Handler();
  }
  sConfigOC.OCMode = TIM_OCMODE_PWM1;
  sConfigOC.Pulse = 1;
  sConfigOC.OCPolarity = TIM_OCPOLARITY_HIGH;
  sConfigOC.OCFastMode = TIM_OCFAST_DISABLE;
  if (HAL_TIM_PWM_ConfigChannel(&htim4, &sConfigOC, TIM_CHANNEL_2) != HAL_OK)
  {
    Error_Handler();
  }
  HAL_TIM_MspPostInit(&htim4);

}

static void MX_USART3_UART_Init(void)
{

  huart3.Instance = USART3;
  huart3.Init.BaudRate = 115200;
  huart3.Init.WordLength = UART_WORDLENGTH_8B;
  huart3.Init.StopBits = UART_STOPBITS_1;
  huart3.Init.Parity = UART_PARITY_NONE;
  huart3.Init.Mode = UART_MODE_TX_RX;
  huart3.Init.HwFlowCtl = UART_HWCONTROL_NONE;
  huart3.Init.OverSampling = UART_OVERSAMPLING_16;
  if (HAL_UART_Init(&huart3) != HAL_OK)
  {
    Error_Handler();
  }

}

static void MX_USART6_UART_Init(void)
{

  huart6.Instance = USART6;
  huart6.Init.BaudRate = 115200;
  huart6.Init.WordLength = UART_WORDLENGTH_8B;
  huart6.Init.StopBits = UART_STOPBITS_1;
  huart6.Init.Parity = UART_PARITY_NONE;
  huart6.Init.Mode = UART_MODE_TX_RX;
  huart6.Init.HwFlowCtl = UART_HWCONTROL_NONE;
  huart6.Init.OverSampling = UART_OVERSAMPLING_16;
  if (HAL_UART_Init(&huart6) != HAL_OK)
  {
    Error_Handler();
  }

}

static void MX_DMA_Init(void)
{

  /* DMA controller clock enable */
  __HAL_RCC_DMA1_CLK_ENABLE();

  /* DMA interrupt init */
  /* DMA1_Stream0_IRQn interrupt configuration */
  HAL_NVIC_SetPriority(DMA1_Stream0_IRQn, 0, 0);
  HAL_NVIC_EnableIRQ(DMA1_Stream0_IRQn);

}

static void MX_GPIO_Init(void)
{
  GPIO_InitTypeDef GPIO_InitStruct = {0};

  /* GPIO Ports Clock Enable */
  __HAL_RCC_GPIOE_CLK_ENABLE();
  __HAL_RCC_GPIOG_CLK_ENABLE();
  __HAL_RCC_GPIOB_CLK_ENABLE();
  __HAL_RCC_GPIOD_CLK_ENABLE();
  __HAL_RCC_GPIOC_CLK_ENABLE();
  __HAL_RCC_GPIOA_CLK_ENABLE();
  __HAL_RCC_GPIOJ_CLK_ENABLE();
  __HAL_RCC_GPIOI_CLK_ENABLE();
  __HAL_RCC_GPIOK_CLK_ENABLE();
  __HAL_RCC_GPIOF_CLK_ENABLE();
  __HAL_RCC_GPIOH_CLK_ENABLE();

  /*Configure GPIO pin Output Level */
  HAL_GPIO_WritePin(GPIOE, SPKR_HP_Pin|AUDIO_RST_Pin, GPIO_PIN_RESET);

  /*Configure GPIO pin Output Level */
  HAL_GPIO_WritePin(GPIOD, LED3_Pin|LED2_Pin, GPIO_PIN_RESET);

  /*Configure GPIO pin Output Level */
  HAL_GPIO_WritePin(LED4_GPIO_Port, LED4_Pin, GPIO_PIN_RESET);

  /*Configure GPIO pin Output Level */
  HAL_GPIO_WritePin(LED1_GPIO_Port, LED1_Pin, GPIO_PIN_RESET);

  /*Configure GPIO pin Output Level */
  HAL_GPIO_WritePin(GPIOB, OTG_FS1_PowerSwitchOn_Pin|EXT_RESET_Pin, GPIO_PIN_RESET);

  /*Configure GPIO pin Output Level */
  HAL_GPIO_WritePin(GPIOH, GPIO_PIN_7, GPIO_PIN_RESET);

  /*Configure GPIO pin Output Level */
  HAL_GPIO_WritePin(LCD_BL_CTRL_GPIO_Port, LCD_BL_CTRL_Pin, GPIO_PIN_RESET);

  /*Configure GPIO pins : SAI1_FSA_Pin SAI1_SCKA_Pin */
  GPIO_InitStruct.Pin = SAI1_FSA_Pin|SAI1_SCKA_Pin;
  GPIO_InitStruct.Mode = GPIO_MODE_AF_PP;
  GPIO_InitStruct.Pull = GPIO_NOPULL;
  GPIO_InitStruct.Speed = GPIO_SPEED_FREQ_LOW;
  GPIO_InitStruct.Alternate = GPIO_AF6_SAI1;
  HAL_GPIO_Init(GPIOE, &GPIO_InitStruct);

  /*Configure GPIO pins : SPKR_HP_Pin AUDIO_RST_Pin */
  GPIO_InitStruct.Pin = SPKR_HP_Pin|AUDIO_RST_Pin;
  GPIO_InitStruct.Mode = GPIO_MODE_OUTPUT_PP;
  GPIO_InitStruct.Pull = GPIO_NOPULL;
  GPIO_InitStruct.Speed = GPIO_SPEED_FREQ_LOW;
  HAL_GPIO_Init(GPIOE, &GPIO_InitStruct);

  /*Configure GPIO pins : FMC_NBL1_Pin FMC_NBL0_Pin D5_Pin D6_Pin
                           D8_Pin D11_Pin D4_Pin D7_Pin
                           D9_Pin D12_Pin D10_Pin */
  GPIO_InitStruct.Pin = FMC_NBL1_Pin|FMC_NBL0_Pin|D5_Pin|D6_Pin
                          |D8_Pin|D11_Pin|D4_Pin|D7_Pin
                          |D9_Pin|D12_Pin|D10_Pin;
  GPIO_InitStruct.Mode = GPIO_MODE_AF_PP;
  GPIO_InitStruct.Pull = GPIO_NOPULL;
  GPIO_InitStruct.Speed = GPIO_SPEED_FREQ_VERY_HIGH;
  GPIO_InitStruct.Alternate = GPIO_AF12_FMC;
  HAL_GPIO_Init(GPIOE, &GPIO_InitStruct);

  /*Configure GPIO pins : I2C1_SCL_Pin I2C1_SDA_Pin */
  GPIO_InitStruct.Pin = I2C1_SCL_Pin|I2C1_SDA_Pin;
  GPIO_InitStruct.Mode = GPIO_MODE_AF_OD;
  GPIO_InitStruct.Pull = GPIO_PULLUP;
  GPIO_InitStruct.Speed = GPIO_SPEED_FREQ_VERY_HIGH;
  GPIO_InitStruct.Alternate = GPIO_AF4_I2C1;
  HAL_GPIO_Init(GPIOB, &GPIO_InitStruct);

  /*Configure GPIO pins : PB5 PB4 PB13 PB12
                           PB1 PB14 PB15 */
  GPIO_InitStruct.Pin = GPIO_PIN_5|GPIO_PIN_4|GPIO_PIN_13|GPIO_PIN_12
                          |GPIO_PIN_1|GPIO_PIN_14|GPIO_PIN_15;
  GPIO_InitStruct.Mode = GPIO_MODE_ANALOG;
  GPIO_InitStruct.Pull = GPIO_NOPULL;
  HAL_GPIO_Init(GPIOB, &GPIO_InitStruct);

  /*Configure GPIO pins : PD7 PD3 PD11 */
  GPIO_InitStruct.Pin = GPIO_PIN_7|GPIO_PIN_3|GPIO_PIN_11;
  GPIO_InitStruct.Mode = GPIO_MODE_ANALOG;
  GPIO_InitStruct.Pull = GPIO_NOPULL;
  HAL_GPIO_Init(GPIOD, &GPIO_InitStruct);

  /*Configure GPIO pins : uSD_CLK_Pin uSD_D3_Pin uSD_D2_Pin uSD_D1_Pin
                           uSD_D0_Pin */
  GPIO_InitStruct.Pin = uSD_CLK_Pin|uSD_D3_Pin|uSD_D2_Pin|uSD_D1_Pin
                          |uSD_D0_Pin;
  GPIO_InitStruct.Mode = GPIO_MODE_AF_PP;
  GPIO_InitStruct.Pull = GPIO_NOPULL;
  GPIO_InitStruct.Speed = GPIO_SPEED_FREQ_VERY_HIGH;
  GPIO_InitStruct.Alternate = GPIO_AF12_SDIO;
  HAL_GPIO_Init(GPIOC, &GPIO_InitStruct);

  /*Configure GPIO pin : PE6 */
  GPIO_InitStruct.Pin = GPIO_PIN_6;
  GPIO_InitStruct.Mode = GPIO_MODE_ANALOG;
  GPIO_InitStruct.Pull = GPIO_NOPULL;
  HAL_GPIO_Init(GPIOE, &GPIO_InitStruct);

  /*Configure GPIO pins : PG13 PG11 PG12 PG10
                           PG3 */
  GPIO_InitStruct.Pin = GPIO_PIN_13|GPIO_PIN_11|GPIO_PIN_12|GPIO_PIN_10
                          |GPIO_PIN_3;
  GPIO_InitStruct.Mode = GPIO_MODE_ANALOG;
  GPIO_InitStruct.Pull = GPIO_NOPULL;
  HAL_GPIO_Init(GPIOG, &GPIO_InitStruct);

  /*Configure GPIO pin : OTG_FS1_OverCurrent_Pin */
  GPIO_InitStruct.Pin = OTG_FS1_OverCurrent_Pin;
  GPIO_InitStruct.Mode = GPIO_MODE_IT_RISING;
  GPIO_InitStruct.Pull = GPIO_NOPULL;
  HAL_GPIO_Init(OTG_FS1_OverCurrent_GPIO_Port, &GPIO_InitStruct);

  /*Configure GPIO pin : QSPI_BK1_NCS_Pin */
  GPIO_InitStruct.Pin = QSPI_BK1_NCS_Pin;
  GPIO_InitStruct.Mode = GPIO_MODE_AF_PP;
  GPIO_InitStruct.Pull = GPIO_NOPULL;
  GPIO_InitStruct.Speed = GPIO_SPEED_FREQ_VERY_HIGH;
  GPIO_InitStruct.Alternate = GPIO_AF10_QSPI;
  HAL_GPIO_Init(QSPI_BK1_NCS_GPIO_Port, &GPIO_InitStruct);

  /*Configure GPIO pins : SDNCAS_Pin SDCLK_Pin A11_Pin A10_Pin
                           PG5 PG4 */
  GPIO_InitStruct.Pin = SDNCAS_Pin|SDCLK_Pin|A11_Pin|A10_Pin
                          |GPIO_PIN_5|GPIO_PIN_4;
  GPIO_InitStruct.Mode = GPIO_MODE_AF_PP;
  GPIO_InitStruct.Pull = GPIO_NOPULL;
  GPIO_InitStruct.Speed = GPIO_SPEED_FREQ_VERY_HIGH;
  GPIO_InitStruct.Alternate = GPIO_AF12_FMC;
  HAL_GPIO_Init(GPIOG, &GPIO_InitStruct);

  /*Configure GPIO pins : PJ13 PJ12 PJ14 PJ15
                           PJ4 PJ3 PJ0 PJ1 */
  GPIO_InitStruct.Pin = GPIO_PIN_13|GPIO_PIN_12|GPIO_PIN_14|GPIO_PIN_15
                          |GPIO_PIN_4|GPIO_PIN_3|GPIO_PIN_0|GPIO_PIN_1;
  GPIO_InitStruct.Mode = GPIO_MODE_ANALOG;
  GPIO_InitStruct.Pull = GPIO_NOPULL;
  HAL_GPIO_Init(GPIOJ, &GPIO_InitStruct);

  /*Configure GPIO pins : D2_Pin D3_Pin D1_Pin D15_Pin
                           D0_Pin D14_Pin D13_Pin */
  GPIO_InitStruct.Pin = D2_Pin|D3_Pin|D1_Pin|D15_Pin
                          |D0_Pin|D14_Pin|D13_Pin;
  GPIO_InitStruct.Mode = GPIO_MODE_AF_PP;
  GPIO_InitStruct.Pull = GPIO_NOPULL;
  GPIO_InitStruct.Speed = GPIO_SPEED_FREQ_VERY_HIGH;
  GPIO_InitStruct.Alternate = GPIO_AF12_FMC;
  HAL_GPIO_Init(GPIOD, &GPIO_InitStruct);

  /*Configure GPIO pins : USB_FS1_P_Pin USB_FS1_N_Pin USB_FS1_ID_Pin */
  GPIO_InitStruct.Pin = USB_FS1_P_Pin|USB_FS1_N_Pin|USB_FS1_ID_Pin;
  GPIO_InitStruct.Mode = GPIO_MODE_AF_PP;
  GPIO_InitStruct.Pull = GPIO_NOPULL;
  GPIO_InitStruct.Speed = GPIO_SPEED_FREQ_VERY_HIGH;
  GPIO_InitStruct.Alternate = GPIO_AF10_OTG_FS;
  HAL_GPIO_Init(GPIOA, &GPIO_InitStruct);

  /*Configure GPIO pins : PI8 PI12 PI11 PI13
                           PI15 PI14 */
  GPIO_InitStruct.Pin = GPIO_PIN_8|GPIO_PIN_12|GPIO_PIN_11|GPIO_PIN_13
                          |GPIO_PIN_15|GPIO_PIN_14;
  GPIO_InitStruct.Mode = GPIO_MODE_ANALOG;
  GPIO_InitStruct.Pull = GPIO_NOPULL;
  HAL_GPIO_Init(GPIOI, &GPIO_InitStruct);

  /*Configure GPIO pins : FMC_NBL2_Pin D27_Pin D26_Pin FMC_NBL3_Pin
                           D29_Pin D31_Pin D28_Pin D25_Pin
                           D30_Pin D24_Pin */
  GPIO_InitStruct.Pin = FMC_NBL2_Pin|D27_Pin|D26_Pin|FMC_NBL3_Pin
                          |D29_Pin|D31_Pin|D28_Pin|D25_Pin
                          |D30_Pin|D24_Pin;
  GPIO_InitStruct.Mode = GPIO_MODE_AF_PP;
  GPIO_InitStruct.Pull = GPIO_NOPULL;
  GPIO_InitStruct.Speed = GPIO_SPEED_FREQ_VERY_HIGH;
  GPIO_InitStruct.Alternate = GPIO_AF12_FMC;
  HAL_GPIO_Init(GPIOI, &GPIO_InitStruct);

  /*Configure GPIO pins : PK7 PK6 PK5 PK4 */
  GPIO_InitStruct.Pin = GPIO_PIN_7|GPIO_PIN_6|GPIO_PIN_5|GPIO_PIN_4;
  GPIO_InitStruct.Mode = GPIO_MODE_ANALOG;
  GPIO_InitStruct.Pull = GPIO_NOPULL;
  HAL_GPIO_Init(GPIOK, &GPIO_InitStruct);

  /*Configure GPIO pins : LED3_Pin LED2_Pin */
  GPIO_InitStruct.Pin = LED3_Pin|LED2_Pin;
  GPIO_InitStruct.Mode = GPIO_MODE_OUTPUT_OD;
  GPIO_InitStruct.Pull = GPIO_NOPULL;
  GPIO_InitStruct.Speed = GPIO_SPEED_FREQ_LOW;
  HAL_GPIO_Init(GPIOD, &GPIO_InitStruct);

  /*Configure GPIO pins : PC13 PC7 PC6 PC3
                           PC1 PC2 PC4 PC5 */
  GPIO_InitStruct.Pin = GPIO_PIN_13|GPIO_PIN_7|GPIO_PIN_6|GPIO_PIN_3
                          |GPIO_PIN_1|GPIO_PIN_2|GPIO_PIN_4|GPIO_PIN_5;
  GPIO_InitStruct.Mode = GPIO_MODE_ANALOG;
  GPIO_InitStruct.Pull = GPIO_NOPULL;
  HAL_GPIO_Init(GPIOC, &GPIO_InitStruct);

  /*Configure GPIO pins : A0_Pin A1_Pin A2_Pin A3_Pin
                           A4_Pin A5_Pin A6_Pin A9_Pin
                           A7_Pin A8_Pin SDNMT48LC4M32B2B5_6A_RAS_RAS___Pin */
  GPIO_InitStruct.Pin = A0_Pin|A1_Pin|A2_Pin|A3_Pin
                          |A4_Pin|A5_Pin|A6_Pin|A9_Pin
                          |A7_Pin|A8_Pin|SDNMT48LC4M32B2B5_6A_RAS_RAS___Pin;
  GPIO_InitStruct.Mode = GPIO_MODE_AF_PP;
  GPIO_InitStruct.Pull = GPIO_NOPULL;
  GPIO_InitStruct.Speed = GPIO_SPEED_FREQ_VERY_HIGH;
  GPIO_InitStruct.Alternate = GPIO_AF12_FMC;
  HAL_GPIO_Init(GPIOF, &GPIO_InitStruct);

  /*Configure GPIO pin : LED4_Pin */
  GPIO_InitStruct.Pin = LED4_Pin;
  GPIO_InitStruct.Mode = GPIO_MODE_OUTPUT_OD;
  GPIO_InitStruct.Pull = GPIO_NOPULL;
  GPIO_InitStruct.Speed = GPIO_SPEED_FREQ_LOW;
  HAL_GPIO_Init(LED4_GPIO_Port, &GPIO_InitStruct);

  /*Configure GPIO pin : uSD_CMD_Pin */
  GPIO_InitStruct.Pin = uSD_CMD_Pin;
  GPIO_InitStruct.Mode = GPIO_MODE_AF_PP;
  GPIO_InitStruct.Pull = GPIO_NOPULL;
  GPIO_InitStruct.Speed = GPIO_SPEED_FREQ_VERY_HIGH;
  GPIO_InitStruct.Alternate = GPIO_AF12_SDIO;
  HAL_GPIO_Init(uSD_CMD_GPIO_Port, &GPIO_InitStruct);

  /*Configure GPIO pins : D23_Pin D21_Pin D22_Pin SDNE0_Pin
                           SDCKE0_Pin D20_Pin D17_Pin D19_Pin
                           D16_Pin D18_Pin */
  GPIO_InitStruct.Pin = D23_Pin|D21_Pin|D22_Pin|SDNE0_Pin
                          |SDCKE0_Pin|D20_Pin|D17_Pin|D19_Pin
                          |D16_Pin|D18_Pin;
  GPIO_InitStruct.Mode = GPIO_MODE_AF_PP;
  GPIO_InitStruct.Pull = GPIO_NOPULL;
  GPIO_InitStruct.Speed = GPIO_SPEED_FREQ_VERY_HIGH;
  GPIO_InitStruct.Alternate = GPIO_AF12_FMC;
  HAL_GPIO_Init(GPIOH, &GPIO_InitStruct);

  /*Configure GPIO pin : VBUS_FS1_Pin */
  GPIO_InitStruct.Pin = VBUS_FS1_Pin;
  GPIO_InitStruct.Mode = GPIO_MODE_AF_PP;
  GPIO_InitStruct.Pull = GPIO_NOPULL;
  HAL_GPIO_Init(VBUS_FS1_GPIO_Port, &GPIO_InitStruct);

  /*Configure GPIO pins : PA8 PA1 PA4 PA2
                           PA6 PA5 PA7 */
  GPIO_InitStruct.Pin = GPIO_PIN_8|GPIO_PIN_1|GPIO_PIN_4|GPIO_PIN_2
                          |GPIO_PIN_6|GPIO_PIN_5|GPIO_PIN_7;
  GPIO_InitStruct.Mode = GPIO_MODE_ANALOG;
  GPIO_InitStruct.Pull = GPIO_NOPULL;
  HAL_GPIO_Init(GPIOA, &GPIO_InitStruct);

  /*Configure GPIO pins : I2C2_SCL_Pin I2C2_SDA_Pin */
  GPIO_InitStruct.Pin = I2C2_SCL_Pin|I2C2_SDA_Pin;
  GPIO_InitStruct.Mode = GPIO_MODE_AF_OD;
  GPIO_InitStruct.Pull = GPIO_PULLUP;
  GPIO_InitStruct.Speed = GPIO_SPEED_FREQ_VERY_HIGH;
  GPIO_InitStruct.Alternate = GPIO_AF4_I2C2;
  HAL_GPIO_Init(GPIOH, &GPIO_InitStruct);

  /*Configure GPIO pin : SAI1_MCLKA_Pin */
  GPIO_InitStruct.Pin = SAI1_MCLKA_Pin;
  GPIO_InitStruct.Mode = GPIO_MODE_AF_PP;
  GPIO_InitStruct.Pull = GPIO_NOPULL;
  GPIO_InitStruct.Speed = GPIO_SPEED_FREQ_LOW;
  GPIO_InitStruct.Alternate = GPIO_AF6_SAI1;
  HAL_GPIO_Init(SAI1_MCLKA_GPIO_Port, &GPIO_InitStruct);

  /*Configure GPIO pin : LED1_Pin */
  GPIO_InitStruct.Pin = LED1_Pin;
  GPIO_InitStruct.Mode = GPIO_MODE_OUTPUT_OD;
  GPIO_InitStruct.Pull = GPIO_NOPULL;
  GPIO_InitStruct.Speed = GPIO_SPEED_FREQ_LOW;
  HAL_GPIO_Init(LED1_GPIO_Port, &GPIO_InitStruct);

  /*Configure GPIO pins : QSPI_BK1_IO2_Pin QSPI_BK1_IO3_Pin QSPI_CLK_Pin */
  GPIO_InitStruct.Pin = QSPI_BK1_IO2_Pin|QSPI_BK1_IO3_Pin|QSPI_CLK_Pin;
  GPIO_InitStruct.Mode = GPIO_MODE_AF_PP;
  GPIO_InitStruct.Pull = GPIO_NOPULL;
  GPIO_InitStruct.Speed = GPIO_SPEED_FREQ_VERY_HIGH;
  GPIO_InitStruct.Alternate = GPIO_AF9_QSPI;
  HAL_GPIO_Init(GPIOF, &GPIO_InitStruct);

  /*Configure GPIO pins : QSPI_BK1_IO1_Pin QSPI_BK1_IO0_Pin */
  GPIO_InitStruct.Pin = QSPI_BK1_IO1_Pin|QSPI_BK1_IO0_Pin;
  GPIO_InitStruct.Mode = GPIO_MODE_AF_PP;
  GPIO_InitStruct.Pull = GPIO_NOPULL;
  GPIO_InitStruct.Speed = GPIO_SPEED_FREQ_VERY_HIGH;
  GPIO_InitStruct.Alternate = GPIO_AF10_QSPI;
  HAL_GPIO_Init(GPIOF, &GPIO_InitStruct);

  /*Configure GPIO pin : SDNWE_Pin */
  GPIO_InitStruct.Pin = SDNWE_Pin;
  GPIO_InitStruct.Mode = GPIO_MODE_AF_PP;
  GPIO_InitStruct.Pull = GPIO_NOPULL;
  GPIO_InitStruct.Speed = GPIO_SPEED_FREQ_VERY_HIGH;
  GPIO_InitStruct.Alternate = GPIO_AF12_FMC;
  HAL_GPIO_Init(SDNWE_GPIO_Port, &GPIO_InitStruct);

  /*Configure GPIO pins : OTG_FS1_PowerSwitchOn_Pin EXT_RESET_Pin */
  GPIO_InitStruct.Pin = OTG_FS1_PowerSwitchOn_Pin|EXT_RESET_Pin;
  GPIO_InitStruct.Mode = GPIO_MODE_OUTPUT_PP;
  GPIO_InitStruct.Pull = GPIO_NOPULL;
  GPIO_InitStruct.Speed = GPIO_SPEED_FREQ_LOW;
  HAL_GPIO_Init(GPIOB, &GPIO_InitStruct);

  /*Configure GPIO pin : uSD_Detect_Pin */
  GPIO_InitStruct.Pin = uSD_Detect_Pin;
  GPIO_InitStruct.Mode = GPIO_MODE_INPUT;
  GPIO_InitStruct.Pull = GPIO_NOPULL;
  HAL_GPIO_Init(uSD_Detect_GPIO_Port, &GPIO_InitStruct);

  /*Configure GPIO pin : LCD_INT_Pin */
  GPIO_InitStruct.Pin = LCD_INT_Pin;
  GPIO_InitStruct.Mode = GPIO_MODE_IT_RISING;
  GPIO_InitStruct.Pull = GPIO_NOPULL;
  HAL_GPIO_Init(LCD_INT_GPIO_Port, &GPIO_InitStruct);

  /*Configure GPIO pin : PH7 */
  GPIO_InitStruct.Pin = GPIO_PIN_7;
  GPIO_InitStruct.Mode = GPIO_MODE_OUTPUT_PP;
  GPIO_InitStruct.Pull = GPIO_NOPULL;
  GPIO_InitStruct.Speed = GPIO_SPEED_FREQ_LOW;
  HAL_GPIO_Init(GPIOH, &GPIO_InitStruct);

  /*Configure GPIO pin : DSI_TE_Pin */
  GPIO_InitStruct.Pin = DSI_TE_Pin;
  GPIO_InitStruct.Mode = GPIO_MODE_AF_PP;
  GPIO_InitStruct.Pull = GPIO_NOPULL;
  GPIO_InitStruct.Speed = GPIO_SPEED_FREQ_VERY_HIGH;
  GPIO_InitStruct.Alternate = GPIO_AF13_DSI;
  HAL_GPIO_Init(DSI_TE_GPIO_Port, &GPIO_InitStruct);

  /*Configure GPIO pin : PH6 */
  GPIO_InitStruct.Pin = GPIO_PIN_6;
  GPIO_InitStruct.Mode = GPIO_MODE_ANALOG;
  GPIO_InitStruct.Pull = GPIO_NOPULL;
  HAL_GPIO_Init(GPIOH, &GPIO_InitStruct);

  /*Configure GPIO pin : LCD_BL_CTRL_Pin */
  GPIO_InitStruct.Pin = LCD_BL_CTRL_Pin;
  GPIO_InitStruct.Mode = GPIO_MODE_OUTPUT_PP;
  GPIO_InitStruct.Pull = GPIO_NOPULL;
  GPIO_InitStruct.Speed = GPIO_SPEED_FREQ_LOW;
  HAL_GPIO_Init(LCD_BL_CTRL_GPIO_Port, &GPIO_InitStruct);

}

/* USER CODE BEGIN 4 */
static void process_data(void){
	static float left,right;

	for(size_t i=0; i < BUFFER_SIZE/2; i=i+2){

		//Left sample
		left = INT16_TO_FLOAT* buf_ptr[i];
		if(left > 1.0f){
			left = left - 2.0f;
		}

		//process
		left = left *1;

		//Output
		buf_ptr[i] = FLOAT_TO_INT16 *left;

		//Right sample
		right = INT16_TO_FLOAT* buf_ptr[i+1];
		if(right > 1.0f){
			right = right - 2.0f;
		}

		//process
		right = right *1;

		//Output
		buf_ptr[i+1] = FLOAT_TO_INT16 *right;

	}
	data_ready_flag = false;

}

void HAL_I2SEx_TxRxHalfCpltCallback(I2S_HandleTypeDef *hi2s){
	buf_ptr = &mic_data[0];

	data_ready_flag = true;
}

void HAL_I2SEx_TxRxCpltCallback(I2S_HandleTypeDef *hi2s){
	buf_ptr = &mic_data[BUFFER_SIZE/2];

	data_ready_flag = true;
}
/* USER CODE END 4 */

void HAL_TIM_PeriodElapsedCallback(TIM_HandleTypeDef *htim)
{
  if (htim->Instance == TIM6)
  {
    HAL_IncTick();
  }
}

void Error_Handler(void)
{
  __disable_irq();
  while (1)
  {
  }
}
